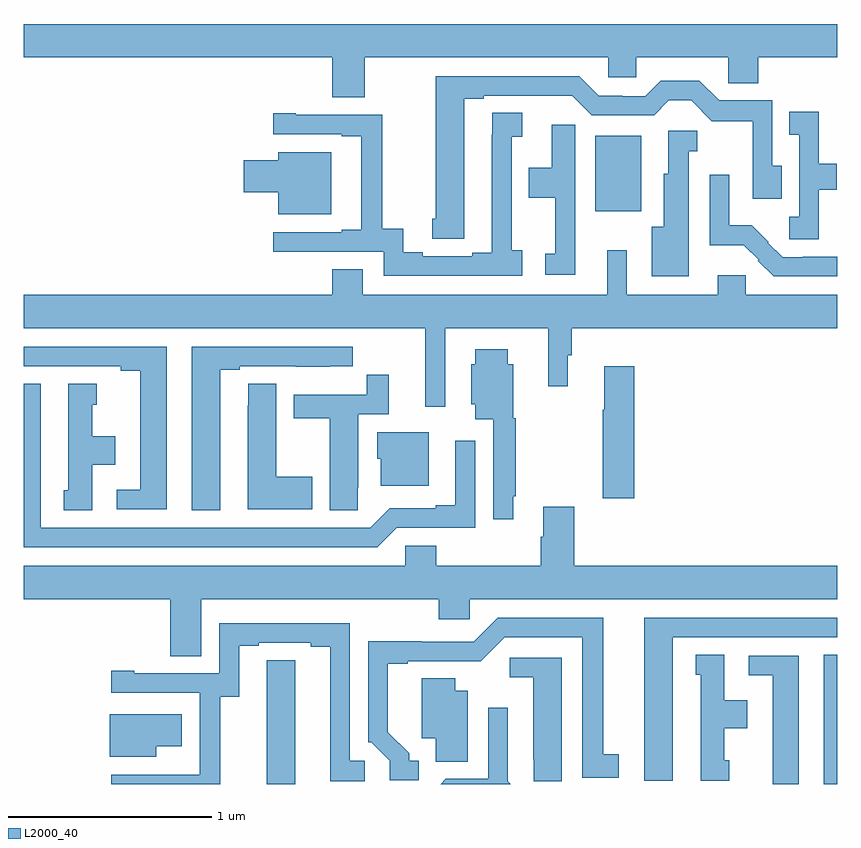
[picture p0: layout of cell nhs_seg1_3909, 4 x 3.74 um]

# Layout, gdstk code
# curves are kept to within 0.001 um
import gdstk
lib = gdstk.Library(unit=1e-6, precision=1e-09)
def R(c, l, rs):  # rectangles x0, y0, x1, y1
    for r in rs: c.add(gdstk.rectangle(r[:2], r[2:], *l))
def P(c, l, *ps):  # polygons
    for p in ps: c.add(gdstk.Polygon(p, *l))
L2000_40 = (2000, 40)

nhs_seg1_3909 = lib.new_cell('nhs_seg1_3909')
R(nhs_seg1_3909, L2000_40, [(328.934,508.199,329,508.835), (327.809,511.016,328.036,511.387)])
P(nhs_seg1_3909, L2000_40, [(326.676,511.772),(327.873,511.772),(327.873,511.674),(328.011,511.674),(328.011,511.772),(328.464,511.772),(328.464,511.645),(328.611,511.645),(328.611,511.772),(329,511.772),(329,511.936),(325,511.936),(325,511.772),(326.516,511.772),(326.516,511.576),(326.676,511.576)],
  [(327.165,510.988),(327.166,511.569),(327.262,511.569),(327.262,511.584),(327.697,511.583),(327.792,511.488),(328.101,511.488),(328.172,511.56),(328.282,511.56),(328.382,511.459),(328.584,511.459),(328.584,511.077),(328.727,511.077),(328.727,511.238),(328.68,511.238),(328.68,511.56),(328.419,511.56),(328.322,511.657),(328.132,511.657),(328.056,511.581),(327.944,511.581),(327.944,511.584),(327.828,511.584),(327.732,511.68),(327.026,511.68),(327.026,510.978),(327.008,510.978),(327.008,510.88),(327.165,510.88)],
  [(328.908,511.122),(328.997,511.122),(328.997,511.25),(328.909,511.25),(328.909,511.504),(328.765,511.504),(328.765,511.391),(328.812,511.391),(328.812,510.988),(328.763,510.988),(328.763,510.877),(328.908,510.877)],
  [(327.451,510.823),(327.399,510.823),(327.399,511.381),(327.451,511.381),(327.451,511.499),(327.303,511.499),(327.303,511.391),(327.302,511.391),(327.302,510.81),(327.206,510.81),(327.206,510.795),(326.962,510.795),(326.962,510.814),(326.866,510.814),(326.866,510.928),(326.762,510.928),(326.762,511.491),(326.338,511.491),(326.338,511.496),(326.226,511.496),(326.226,511.395),(326.564,511.395),(326.564,511.383),(326.66,511.383),(326.66,510.925),(326.564,510.925),(326.564,510.912),(326.226,510.912),(326.226,510.816),(326.769,510.816),(326.769,510.699),(327.451,510.699)],
  [(327.712,511.441),(327.596,511.441),(327.596,511.23),(327.484,511.23),(327.484,511.082),(327.614,511.082),(327.614,510.807),(327.564,510.807),(327.564,510.702),(327.712,510.702)],
  [(328.27,511.311),(328.311,511.311),(328.311,511.41),(328.169,511.41),(328.169,511.2),(328.148,511.2),(328.148,510.94),(328.088,510.94),(328.088,510.695),(328.27,510.695)],
  [(326.512,511.306),(326.252,511.306),(326.252,511.267),(326.082,511.267),(326.082,511.109),(326.252,511.109),(326.252,511.001),(326.512,511.001)],
  [(329,510.792),(328.831,510.792),(328.831,510.789),(328.731,510.789),(328.659,510.861),(328.662,510.864),(328.579,510.947),(328.47,510.947),(328.47,511.195),(328.374,511.195),(328.374,510.849),(328.54,510.849),(328.613,510.776),(328.61,510.773),(328.688,510.696),(329,510.696)],
  [(327.072,510.44),(327.578,510.44),(327.578,510.156),(327.676,510.156),(327.676,510.306),(327.695,510.306),(327.695,510.44),(329,510.44),(329,510.604),(328.551,510.604),(328.551,510.7),(328.412,510.7),(328.412,510.604),(327.966,510.604),(327.966,510.823),(327.869,510.823),(327.869,510.604),(326.668,510.604),(326.668,510.731),(326.516,510.731),(326.516,510.604),(325,510.604),(325,510.44),(326.975,510.44),(326.975,510.054),(327.072,510.054)],
  [(325.966,510.237),(326.062,510.237),(326.062,510.252),(326.338,510.252),(326.338,510.251),(326.504,510.251),(326.504,510.252),(326.617,510.252),(326.617,510.348),(325.826,510.348),(325.826,509.545),(325.966,509.545)],
  [(325.702,510.348),(325,510.348),(325,510.252),(325.478,510.252),(325.478,510.232),(325.574,510.232),(325.574,509.646),(325.458,509.646),(325.458,509.55),(325.702,509.55)],
  [(327.406,509.614),(327.418,509.614),(327.418,509.997),(327.406,509.997),(327.406,510.264),(327.379,510.264),(327.379,510.337),(327.221,510.337),(327.221,510.264),(327.2,510.264),(327.2,510.066),(327.221,510.066),(327.221,509.993),(327.309,509.993),(327.309,509.502),(327.406,509.502)],
  [(328.001,510.253),(327.854,510.253),(327.854,510.04),(327.847,510.04),(327.847,509.604),(328.001,509.604)],
  [(326.643,509.656),(326.644,509.656),(326.644,510.018),(326.795,510.018),(326.795,510.211),(326.686,510.211),(326.686,510.114),(326.327,510.114),(326.327,509.998),(326.504,509.998),(326.504,509.545),(326.643,509.545)],
  [(326.419,509.709),(326.242,509.709),(326.242,510.167),(326.103,510.167),(326.103,510.059),(326.102,510.059),(326.102,509.549),(326.419,509.549)],
  [(325.336,509.768),(325.45,509.768),(325.45,509.908),(325.336,509.908),(325.336,510.063),(325.36,510.063),(325.36,510.166),(325.22,510.166),(325.22,509.643),(325.196,509.643),(325.196,509.545),(325.336,509.545)],
  [(326.835,509.46),(327.219,509.46),(327.219,509.887),(327.122,509.887),(327.122,509.569),(327.026,509.569),(327.026,509.556),(326.799,509.556),(326.703,509.46),(325.084,509.46),(325.084,510.166),(325,510.166),(325,509.364),(326.739,509.364)],
  [(326.992,509.929),(326.738,509.929),(326.738,509.799),(326.756,509.799),(326.756,509.666),(326.992,509.666)],
  [(325.873,509.108),(327.041,509.108),(327.041,509.01),(327.192,509.01),(327.192,509.108),(329,509.108),(329,509.272),(327.707,509.272),(327.707,509.563),(327.554,509.563),(327.554,509.414),(327.542,509.414),(327.542,509.272),(327.029,509.272),(327.029,509.37),(326.877,509.37),(326.877,509.272),(325,509.272),(325,509.108),(325.721,509.108),(325.721,508.828),(325.873,508.828)],
  [(328.192,508.92),(329,508.92),(329,509.016),(328.052,509.016),(328.052,508.215),(328.192,508.215)],
  [(326.941,508.314),(326.896,508.314),(326.896,508.349),(326.791,508.454),(326.791,508.791),(326.887,508.791),(326.887,508.803),(327.248,508.802),(327.366,508.92),(327.746,508.92),(327.746,508.23),(327.925,508.23),(327.925,508.346),(327.85,508.346),(327.85,509.016),(327.33,509.016),(327.213,508.899),(326.957,508.899),(326.957,508.901),(326.694,508.901),(326.694,508.404),(326.709,508.404),(326.799,508.314),(326.799,508.218),(326.941,508.218)],
  [(325.965,508.627),(326.059,508.627),(326.059,508.878),(326.155,508.878),(326.155,508.893),(326.411,508.893),(326.411,508.873),(326.507,508.873),(326.507,508.213),(326.677,508.213),(326.677,508.314),(326.604,508.314),(326.604,508.989),(325.962,508.989),(325.962,508.743),(325.543,508.743),(325.543,508.756),(325.431,508.756),(325.431,508.647),(325.866,508.647),(325.866,508.246),(325.865,508.246),(325.865,508.245),(325.431,508.245),(325.431,508.199),(325.965,508.199)],
  [(328.468,508.317),(328.444,508.317),(328.444,508.472),(328.558,508.472),(328.558,508.612),(328.444,508.612),(328.444,508.835),(328.304,508.835),(328.304,508.737),(328.328,508.737),(328.328,508.215),(328.468,508.215)],
  [(328.81,508.83),(328.566,508.83),(328.566,508.734),(328.682,508.734),(328.682,508.199),(328.81,508.199)],
  [(327.646,508.821),(327.39,508.821),(327.39,508.724),(327.506,508.724),(327.506,508.321),(327.507,508.321),(327.507,508.213),(327.646,508.213)],
  [(326.335,508.808),(326.196,508.808),(326.196,508.7),(326.195,508.7),(326.195,508.199),(326.335,508.199)],
  [(327.184,508.657),(327.121,508.657),(327.121,508.718),(326.957,508.718),(326.957,508.424),(327.026,508.424),(327.026,508.309),(327.184,508.309)],
  [(327.381,508.212),(327.381,508.573),(327.285,508.573),(327.285,508.224),(327.075,508.224),(327.05,508.199),(327.394,508.199)],
  [(325.651,508.385),(325.777,508.385),(325.777,508.543),(325.424,508.543),(325.424,508.334),(325.651,508.334)])

lib.write_gds('nhs_seg1_3909.gds')
